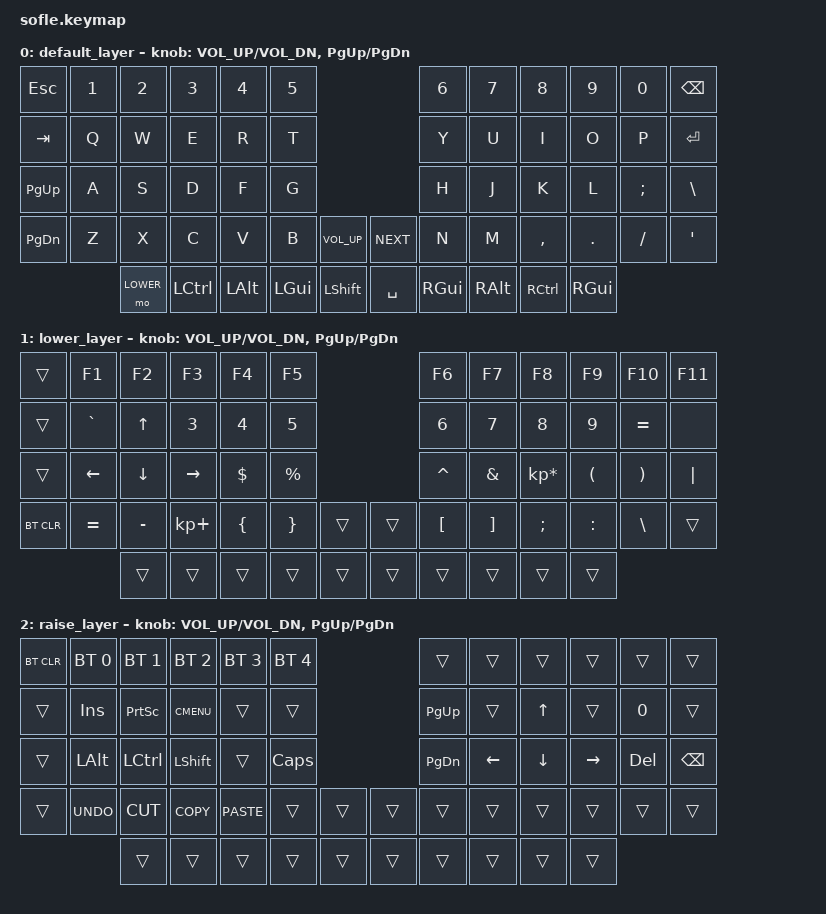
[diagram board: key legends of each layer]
/*
 * Copyright (c) 2020 The ZMK Contributors
 *
 * SPDX-License-Identifier: MIT
 */

#include <behaviors.dtsi>
#include <dt-bindings/zmk/keys.h>
#include <dt-bindings/zmk/bt.h>

#define DEFAULT 0
#define LOWER 1
#define UPPER 2

/ {
    keymap {
        compatible = "zmk,keymap";

        default_layer {
// ------------------------------------------------------------------------------------------------------------
// |  `    |  1  |  2  |  3   |  4   |  5   |                   |  6   |  7    |  8    |  9   |   0   |   BSPC  |
// |  ESC  |  Q  |  W  |  E   |  R   |  T   |                   |  Y   |  U    |  I    |  O   |   P   |  |
// |  TAB  |  A  |  S  |  D   |  F   |  G   |                   |  H   |  J    |  K    |  L   |   ;   |   RET   |
// | SHIFT |  Z  |  X  |  C   |  V   |  B   |  MUTE  |  |       |  N   |  M    |  ,    |  .   |   /   | SHIFT |
//               | GUI | ALT  | CTRL | LOWER|  ENTER |  | SPACE | RAISE| CTRL  | ALT   | GUI  |
            bindings = <
&kp ESC &kp N1 &kp N2   &kp N3   &kp N4    &kp N5                      &kp N6 &kp N7    &kp N8    &kp N9   &kp N0   &kp BSPC
&kp TAB   &kp Q  &kp W    &kp E    &kp R     &kp T                       &kp Y  &kp U     &kp I     &kp O    &kp P    &kp RET
&kp PG_UP   &kp A  &kp S    &kp D    &kp F     &kp G                       &kp H  &kp J     &kp K     &kp L    &kp SEMI &kp BACKSLASH
&kp PG_DN &kp Z  &kp X    &kp C    &kp V     &kp B  &kp C_VOLUME_UP &kp C_NEXT &kp N  &kp M     &kp COMMA &kp DOT  &kp FSLH &kp SQT
                 &mo LOWER &kp LCTRL &kp LALT &kp LEFT_GUI  &kp LSHFT    &kp SPACE &kp RIGHT_GUI &kp RALT &kp RCTRL &kp RGUI
            >;

            sensor-bindings = <&inc_dec_kp C_VOL_UP C_VOL_DN &inc_dec_kp PG_UP PG_DN>;
        };

        lower_layer {
// TODO: Some binds are waiting for shifted keycode support.
// ------------------------------------------------------------------------------------------------------------
// |       |  F1 |  F2 |  F3  |  F4  |  F5  |                   |  F6  |  F7   |  F8   |  F9  |  F10  |  F11  |
// | `     |   1 |   2 |   3  |   4  |   5  |                   |   6  |   7   |   8   |   9  |    0  |  F12  |
// |       |  !  |  @  |  #   |  $   |  %   |                   |  ^   |  &    |  *    |  (   |   )   |   |   |
// |       |  =  |  -  |  +   |  {   |  }   |        |  |       |  [   |  ]    |  ;    |  :   |   \   |       |
//               |     |      |      |      |        |  |       |      |       |       |      |
            bindings = <
&trans    &kp F1    &kp F2    &kp F3      &kp F4    &kp F5                    &kp F6    &kp F7   &kp F8          &kp F9    &kp F10   &kp F11
&trans &kp GRAVE    &kp UP_ARROW    &kp N3      &kp N4    &kp N5                    &kp N6    &kp N7   &kp N8          &kp N9    &kp EQUAL    &none
&trans    &kp LEFT_ARROW  &kp DOWN_ARROW    &kp RIGHT_ARROW    &kp DLLR  &kp PRCNT                 &kp CARET &kp AMPS &kp KP_MULTIPLY &kp LPAR  &kp RPAR  &kp PIPE
&bt BT_CLR    &kp EQUAL &kp MINUS &kp KP_PLUS &kp LBRC  &kp RBRC  &trans   &trans &kp LBKT  &kp RBKT &kp SEMI        &kp COLON &kp BSLH  &trans
                    &trans    &trans      &trans    &trans    &trans   &trans &trans    &trans   &trans          &trans
            >;

            sensor-bindings = <&inc_dec_kp C_VOL_UP C_VOL_DN &inc_dec_kp PG_UP PG_DN>;
        };

        raise_layer {
// ------------------------------------------------------------------------------------------------------------
// |BTCLR| BT1  | BT2  |  BT3  |  BT4  |  BT5 |                |      |      |       |      |       |       |
// |     | INS  | PSCR | GUI   |       |      |                | PGUP |      |   ^   |      |       |       |
// |     | ALT  | CTRL | SHIFT |       | CAPS |                | PGDN |   <- |   v   |  ->  |  DEL  | BKSPC |
// |     | UNDO | CUT  | COPY  | PASTE |      |      |  |      |      |      |       |      |       |       |
//              |      |       |       |      |      |  |      |      |      |       |      |
            bindings = <
&bt BT_CLR &bt BT_SEL 0 &bt BT_SEL 1 &bt BT_SEL 2 &bt BT_SEL 3 &bt BT_SEL 4             &trans    &trans    &trans   &trans    &trans  &trans
&trans     &kp INS      &kp PSCRN    &kp K_CMENU  &trans       &trans                   &kp PG_UP &trans    &kp UP   &trans    &kp N0  &trans
&trans     &kp LALT     &kp LCTRL    &kp LSHFT    &trans       &kp CLCK                 &kp PG_DN &kp LEFT  &kp DOWN &kp RIGHT &kp DEL &kp BSPC
&trans     &kp K_UNDO   &kp K_CUT    &kp K_COPY   &kp K_PASTE  &trans  &trans   &trans  &trans    &trans    &trans   &trans    &trans  &trans
                        &trans       &trans       &trans       &trans  &trans   &trans  &trans    &trans    &trans   &trans
            >;

            sensor-bindings = <&inc_dec_kp C_VOL_UP C_VOL_DN &inc_dec_kp PG_UP PG_DN>;
        };
    };
};
